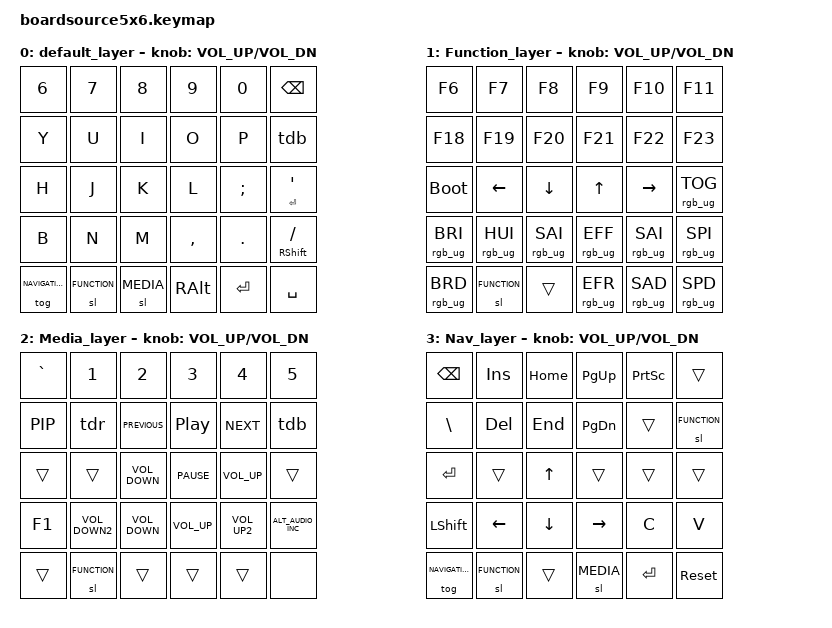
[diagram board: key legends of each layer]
/*
 * this is the RIGHT side
 * Copyright (c) 2021 The ZMK Contributors
 *
 * SPDX-License-Identifier: MIT
 * &kp K_MENU         -doesnt work!
 */

#include <behaviors.dtsi>
#include <dt-bindings/zmk/keys.h>
#include <dt-bindings/zmk/bt.h>
#include <dt-bindings/zmk/outputs.h>
#include <dt-bindings/zmk/rgb.h>

&left_encoder {
    status = "okay";
};

/*
&led_strip {
    chain-length = <35>;
};
 */

#define DEFAULT     0
#define FUNCTION    1
#define MEDIA        2
#define NAVIGATION   3



#define NONE 0

#define MO_CAPS(layer) &mo_caps layer layer   // Macro to apply momentary-caps-on-hold to a specific layer



&mt {
    tapping-term-ms = <100>;
};


&sl {
    release-after-ms = <2000>;
};

&lt {
    quick_tap_ms = <300>;
};

/ {
    /*        macros {
         *             win_H: win_H{
             *                label = "win_H";
             *                 compatible = "zmk,behavior-macro";
             *                    #binding-cells = <0>;
             *                 bindings
             *                   = <&macro_press &kp LGUI>
             *                     , <&macro_tap &kp H>
             *                      , <&macro_release &kp LGUI>
             *             ;
         *       };
     *   };
     */

    behaviors {

        mo_caps: behavior_mo_caps {
            compatible = "zmk,behavior-hold-tap";
            label = "mo_caps";
            #binding-cells = <2>;
            flavor = "hold-preferred";
            tapping-term-ms = <200>;
            bindings = <&mo>, <&tog>;
        };
        //&mo_caps 3 1  to use this function will momentorily go to 3rd layer and tap to toggle to 1st layer

        tdb: brackets {
            compatible = "zmk,behavior-tap-dance";
            label = "TAP_DANCE_FORWARD";
            #binding-cells = <0>;
            tapping-term-ms = <400>;
            bindings = <&mt  RIGHT_BRACKET LEFT_BRACKET>,
                       <&kp BACKSLASH>;
        };


        tdr: tap_dance_rewind {
            compatible = "zmk,behavior-tap-dance";
            label = "TAP_DANCE_REWIND";
            #binding-cells = <0>;
            tapping-term-ms = <400>;
            bindings = <&kp C_REWIND>,
                       <&kp C_PREVIOUS>,
                       <&kp C_PREVIOUS>;
        };

        WinH: Windows_H{
            compatible = "zmk,behavior-tap-dance";
            label = "WinH";
            #binding-cells = <0>;
            tapping-term-ms = <100>;
            bindings = <&kp F>,
                       <&kp F>,
                       <&kp LG(H)>;
        };
        // use it like this "&WinH"



        /*         Stalt: Spc_to_alt_tab{
             *              compatible = "zmk,behavior-mod-morph";
             *             label = "SPACETOALT";
             *              #binding-cells = <0>;
             *              bindings = <&kp SPACE>, <&kp LALT>;
             *         mods = <(MOD_RSFT)>;
             *                keep-mods = <(MOD_LSFT)>;
         *          };
         */
    };



    keymap {
        compatible = "zmk,keymap";

        default_layer {
            // ----------------------------------------------
            // |  TAB  |  Q   |  W   |  E   |  R   |  T   |
            // | SHIFT |  A   |  S   |  D   |  F   |  G   |
            // | CTRL  |  Z   |  X   |  C   |  V   |  B   |
            // |ADJUST | LCTL | LALT | LGUI | LOWR |
            bindings = <
            &kp N6                      &kp N7              &kp N8              &kp N9          &kp N0                  &kp BSPC
            &kp Y                       &kp U               &kp I               &kp O           &kp P                   &tdb
            &kp H                       &kp J               &kp K               &kp L           &kp SEMI                &mt ENTER SQT
            &kp B                       &kp N               &kp M               &kp COMMA       &kp DOT                 &mt RSHIFT SLASH
            &tog NAVIGATION             &sl FUNCTION        &sl MEDIA           &kp RALT        &kp RET                 &kp SPACE
            >;
            sensor-bindings = <&inc_dec_kp C_VOL_UP C_VOL_DN>;
        };

        Function_layer {
            // -------------------------------------------------------------------------------------------
            // |  ESC  |  1   |  2   |  3   |  4   |  5   |
            // |  F1  |  F2  |  F3  |  F4  |  F5  |  F6  |
            // |   ~  |  !   |  @   |  #   |  $   |  %   |
            // |BOOTLD|BOOTLD|BOOTLD|BOOTLD|BOOTLD|
            bindings = <

            &kp F6                 &kp F7               &kp F8             &kp F9            &kp F10               &kp F11
            &kp F18                &kp F19              &kp F20            &kp F21           &kp F22               &kp F23
            &bootloader            &kp LEFT_ARROW       &kp DOWN_ARROW     &kp UP_ARROW      &kp RIGHT_ARROW       &rgb_ug RGB_TOG
            &rgb_ug RGB_BRI        &rgb_ug RGB_HUI      &rgb_ug RGB_SAI    &rgb_ug RGB_EFF   &rgb_ug RGB_SAI       &rgb_ug RGB_SPI
            &rgb_ug RGB_BRD        &sl FUNCTION         &trans             &rgb_ug RGB_EFR   &rgb_ug RGB_SAD       &rgb_ug RGB_SPD
            >;
            sensor-bindings = <&inc_dec_kp C_VOL_UP C_VOL_DN>;
        };

        Media_layer {
            // -------------------------------------------------------------------------------------------
            // |  ESC  |  1   |  2   |  3   |  4   |  5   |
            // |  F1  |  F2  |  F3  |  F4  |  F5  |  F6  |
            // |   ~  |  !   |  @   |  #   |  $   |  %   |
            // |BOOTLD|BOOTLD|BOOTLD|BOOTLD|BOOTLD|
            bindings = <
            &kp GRAVE         &kp N1                &kp N2                   &kp N3              &kp N4                 &kp N5
            &kp C_PIP         &tdr                  &kp C_PREVIOUS           &kp C_PLAY_PAUSE    &kp C_NEXT             &tdb
            &trans            &trans                &kp C_VOLUME_DOWN        &kp C_PAUSE         &kp C_VOLUME_UP        &trans
            &kp F1            &kp K_VOLUME_DOWN2    &kp C_VOLUME_DOWN        &kp C_VOLUME_UP     &kp K_VOLUME_UP2       &kp C_ALT_AUDIO_INC
            &trans            &sl FUNCTION          &trans                   &trans              &trans                 &none
            >;
            sensor-bindings = <&inc_dec_kp C_VOL_UP C_VOL_DN>;
        };

        Nav_layer {
            // -------------------------------------------------------------------------------------------
            // |  ESC  |  1   |  2   |  3   |  4   |  5   |
            // |  F1  |  F2  |  F3  |  F4  |  F5  |  F6  |
            // |   ~  |  !   |  @   |  #   |  $   |  %   |
            // |BOOTLD|BOOTLD|BOOTLD|BOOTLD|BOOTLD|
            bindings = <
            &kp BSPC                &kp INSERT          &kp HOME            &kp PAGE_UP      &kp PSCRN          &trans
            &kp BACKSLASH           &kp DELETE          &kp END             &kp PAGE_DOWN    &trans             &sl FUNCTION
            &kp ENTER               &trans              &kp UP              &trans             &trans           &trans
            &kp LSHIFT              &kp LEFT            &kp DOWN            &kp RIGHT        &kp C              &kp V
            &tog NAVIGATION         &sl FUNCTION        &trans              &sl MEDIA        &kp RET            &sys_reset
            >;
            sensor-bindings = <&inc_dec_kp C_VOL_UP C_VOL_DN>;
        };

    };
};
